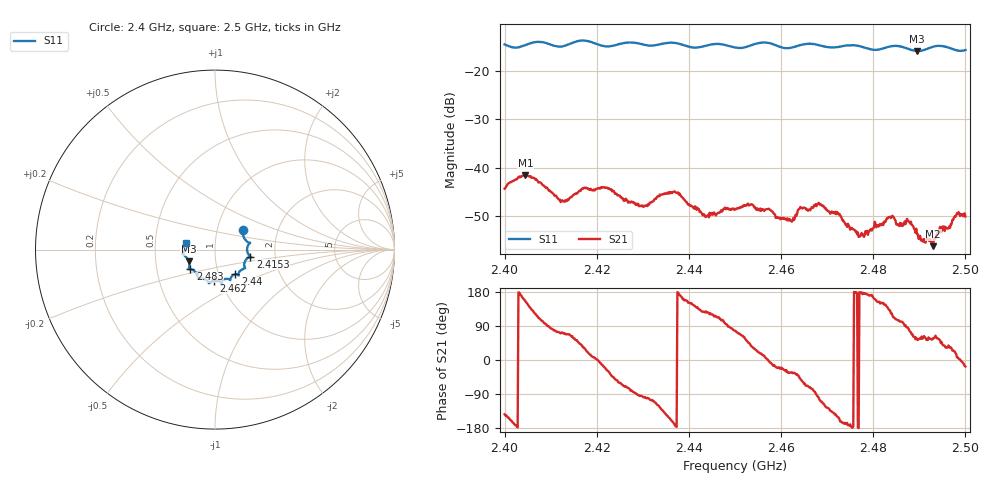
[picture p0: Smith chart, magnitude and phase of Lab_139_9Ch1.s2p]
# Hz S RI R 50
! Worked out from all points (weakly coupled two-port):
!   601 points, 2.4 GHz to 2.5 GHz, reference 50 ohm
!   highest |S21| = -41.53 dB at 2.4045 GHz (marker M1); lowest = -56.2 dB at 2.493 GHz (marker M2)
!   lowest |S11| = -15.9 dB at 2.4895 GHz (marker M3), VSWR 1.38, Z = 37 - j4.99 ohm
!   |S11| at or under -10 dB: start of sweep to end of sweep
!   S12 and S22 are empty: the file has one direction only
!   S11 on the Smith chart (normalised r, x): 2.4 GHz: 1.33, +0.29; 2.4153 GHz: 1.48, -0.12; 2.44 GHz: 1.20, -0.34; 2.462 GHz: 0.93, -0.33; 2.483 GHz: 0.74, -0.17; 2.5 GHz: 0.72, +0.06
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2.4e9  0.155 0.1066  -0.00486 -0.00362  0 0  0 0
2.4045e9  0.1798 0.0436  -0.00761 0.00352  0 0  0 0
2.4125e9  0.1793 -0.00786  0.00149 0.00435  0 0  0 0
2.415333e9  0.1964 -0.0388  0.00323 0.00431  0 0  0 0
2.416667e9  0.2019 -0.0427  0.00464 0.00377  0 0  0 0
2.422167e9  0.1668 -0.0663  0.00559 -0.00273  0 0  0 0
2.429667e9  0.1562 -0.108  -0.000303 -0.00405  0 0  0 0
2.433333e9  0.1311 -0.1336  -0.00251 -0.00439  0 0  0 0
2.437167e9  0.1316 -0.1429  -0.00551 -0.000484  0 0  0 0
2.44e9  0.1139 -0.1366  -0.00368 0.00203  0 0  0 0
2.443833e9  0.0862 -0.1621  -0.00182 0.00256  0 0  0 0
2.45e9  0.0647 -0.1626  0.000816 0.00366  0 0  0 0
2.462e9  -0.00511 -0.1732  0.00236 -0.00155  0 0  0 0
2.466667e9  -0.0343 -0.1876  0.00095 -0.00378  0 0  0 0
2.472333e9  -0.0733 -0.1606  -0.00296 -0.00164  0 0  0 0
2.477333e9  -0.0968 -0.1506  -0.00203 8.72e-05  0 0  0 0
2.483e9  -0.1375 -0.1095  -0.00232 0.00192  0 0  0 0
2.483333e9  -0.14 -0.1093  -0.00213 0.00222  0 0  0 0
2.4895e9  -0.1462 -0.0658  0.00119 0.00168  0 0  0 0
2.493e9  -0.176 -0.0274  0.000825 0.0013  0 0  0 0
2.498167e9  -0.163 0.00809  0.00335 0.00042  0 0  0 0
2.5e9  -0.1598 0.0393  0.00298 -0.000922  0 0  0 0
